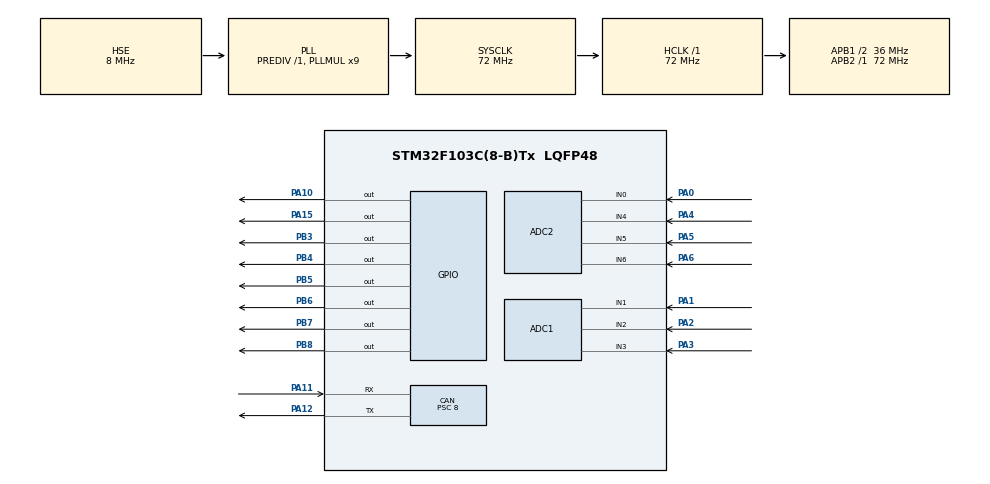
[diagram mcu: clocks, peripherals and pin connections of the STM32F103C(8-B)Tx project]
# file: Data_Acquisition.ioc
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ADC1.Channel-1\#ChannelRegularConversion=ADC_CHANNEL_2
ADC1.ContinuousConvMode=ENABLE
ADC1.EnableRegularConversion=ENABLE
ADC1.NbrOfConversion=1
ADC1.NbrOfConversionFlag=1
ADC1.Rank-1\#ChannelRegularConversion=1
ADC1.SamplingTime-1\#ChannelRegularConversion=ADC_SAMPLETIME_1CYCLE_5
ADC1.master=1
ADC2.Channel-0\#ChannelRegularConversion=ADC_CHANNEL_0
ADC2.ContinuousConvMode=ENABLE
ADC2.NbrOfConversionFlag=1
ADC2.Rank-0\#ChannelRegularConversion=1
ADC2.SamplingTime-0\#ChannelRegularConversion=ADC_SAMPLETIME_13CYCLES_5
CAN.BS1=CAN_BS1_4TQ
CAN.BS2=CAN_BS2_4TQ
CAN.CalculateBaudRate=500000
CAN.CalculateTimeBit=2000
CAN.CalculateTimeQuantum=222.22222222222223
CAN.Prescaler=8
Dma.ADC1.0.Direction=DMA_PERIPH_TO_MEMORY
Dma.ADC1.0.Instance=DMA1_Channel1
Dma.ADC1.0.MemDataAlignment=DMA_MDATAALIGN_HALFWORD
Dma.ADC1.0.MemInc=DMA_MINC_ENABLE
Dma.ADC1.0.Mode=DMA_NORMAL
Dma.ADC1.0.PeriphDataAlignment=DMA_PDATAALIGN_HALFWORD
Dma.ADC1.0.PeriphInc=DMA_PINC_DISABLE
Dma.ADC1.0.Priority=DMA_PRIORITY_LOW
Dma.Request0=ADC1
FREERTOS.Tasks01=sensor_Task,24,128,sensorTask,Default,NULL,Dynamic,NULL,NULL
FREERTOS.configUSE_NEWLIB_REENTRANT=1
Mcu.Family=STM32F1
Mcu.Name=STM32F103C(8-B)Tx
Mcu.Package=LQFP48
NVIC.ADC1_2_IRQn=true\:5\:0\:false\:false\:true\:true\:true\:true\:true
NVIC.DMA1_Channel1_IRQn=true\:5\:0\:false\:false\:true\:true\:false\:true\:true
NVIC.PriorityGroup=NVIC_PRIORITYGROUP_4
NVIC.TIM4_IRQn=true\:15\:0\:false\:false\:true\:false\:false\:true\:true
NVIC.TimeBase=TIM4_IRQn
NVIC.TimeBaseIP=TIM4
PA0-WKUP.Signal=ADCx_IN0
PA1.Signal=ADCx_IN1
PA10.Signal=GPIO_Output
PA11.Mode=CAN_Activate
PA11.Signal=CAN_RX
PA12.Mode=CAN_Activate
PA12.Signal=CAN_TX
PA13.Mode=Serial_Wire
PA13.Signal=SYS_JTMS-SWDIO
PA14.Mode=Serial_Wire
PA14.Signal=SYS_JTCK-SWCLK
PA15.Signal=GPIO_Output
PA2.Signal=ADCx_IN2
PA3.Signal=ADCx_IN3
PA4.Signal=ADCx_IN4
PA5.Signal=ADCx_IN5
PA6.Signal=ADCx_IN6
PB3.Signal=GPIO_Output
PB4.Signal=GPIO_Output
PB5.Signal=GPIO_Output
PB6.Signal=GPIO_Output
PB7.Signal=GPIO_Output
PB8.Signal=GPIO_Output
PD0-OSC_IN.Mode=HSE-External-Oscillator
PD0-OSC_IN.Signal=RCC_OSC_IN
PD1-OSC_OUT.Mode=HSE-External-Oscillator
PD1-OSC_OUT.Signal=RCC_OSC_OUT
ProjectManager.HeapSize=0x200
ProjectManager.StackSize=0x400
ProjectManager.TargetToolchain=STM32CubeIDE
RCC.ADCPresc=RCC_ADCPCLK2_DIV6
RCC.AHBFreq_Value=72000000
RCC.APB1CLKDivider=RCC_HCLK_DIV2
RCC.APB1Freq_Value=36000000
RCC.APB1TimFreq_Value=72000000
RCC.APB2Freq_Value=72000000
RCC.APB2TimFreq_Value=72000000
RCC.HCLKFreq_Value=72000000
RCC.PLLMUL=RCC_PLL_MUL9
RCC.PLLSourceVirtual=RCC_PLLSOURCE_HSE
RCC.SYSCLKFreq_VALUE=72000000
RCC.SYSCLKSource=RCC_SYSCLKSOURCE_PLLCLK
RCC.USBFreq_Value=72000000
SH.ADCx_IN0.0=ADC2_IN0,IN0
SH.ADCx_IN1.0=ADC1_IN1,IN1
SH.ADCx_IN2.0=ADC1_IN2,IN2
SH.ADCx_IN3.0=ADC1_IN3,IN3
SH.ADCx_IN4.0=ADC2_IN4,IN4
SH.ADCx_IN5.0=ADC2_IN5,IN5
SH.ADCx_IN6.0=ADC2_IN6,IN6
TIM1.Prescaler=71
VP_FREERTOS_VS_CMSIS_V2.Mode=CMSIS_V2
VP_SYS_VS_tim4.Mode=TIM4
VP_TIM1_VS_ClockSourceINT.Mode=Internal
board=custom

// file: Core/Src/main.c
/* USER CODE BEGIN Header */
/**
  ******************************************************************************
  * @file           : main.c
  * @brief          : Main program body
  ******************************************************************************
  * @attention
  *
  * Copyright (c) 2025 STMicroelectronics.
  * All rights reserved.
  *
  * This software is licensed under terms that can be found in the LICENSE file
  * in the root directory of this software component.
  * If no LICENSE file comes with this software, it is provided AS-IS.
  *
  ******************************************************************************
  */
/* USER CODE END Header */
#include "main.h"
#include "cmsis_os.h"
#include "adc.h"
#include "can.h"
#include "tim.h"
#include "gpio.h"

/* USER CODE BEGIN Includes */
#include "can_write.h"
#include "adc_settings.h"
/* USER CODE END Includes */

/* USER CODE BEGIN PV */
HAL_StatusTypeDef can_msg;
/* USER CODE END PV */

void SystemClock_Config(void);
void MX_FREERTOS_Init(void);

int main(void)
{

  /* MCU Configuration--------------------------------------------------------*/

  /* Reset of all peripherals, Initializes the Flash interface and the Systick. */
  HAL_Init();

  /* Configure the system clock */
  SystemClock_Config();

  /* Initialize all configured peripherals */
  MX_GPIO_Init();
  MX_ADC1_Init();
  MX_CAN_Init();
  MX_ADC2_Init();
  MX_TIM1_Init();
  /* USER CODE BEGIN 2 */
  HAL_CAN_Start(&hcan);
  can_msg = sendCANString("CAN Started");
  /* USER CODE END 2 */

  /* Init scheduler */
  osKernelInitialize();

  /* Call init function for freertos objects (in cmsis_os2.c) */
  MX_FREERTOS_Init();

  /* Start scheduler */
  osKernelStart();

  /* We should never get here as control is now taken by the scheduler */

  /* Infinite loop */
  while (1)
  {

  }
}

void SystemClock_Config(void)
{
  RCC_OscInitTypeDef RCC_OscInitStruct = {0};
  RCC_ClkInitTypeDef RCC_ClkInitStruct = {0};
  RCC_PeriphCLKInitTypeDef PeriphClkInit = {0};

  /** Initializes the RCC Oscillators according to the specified parameters
  * in the RCC_OscInitTypeDef structure.
  */
  RCC_OscInitStruct.OscillatorType = RCC_OSCILLATORTYPE_HSE;
  RCC_OscInitStruct.HSEState = RCC_HSE_ON;
  RCC_OscInitStruct.HSEPredivValue = RCC_HSE_PREDIV_DIV1;
  RCC_OscInitStruct.HSIState = RCC_HSI_ON;
  RCC_OscInitStruct.PLL.PLLState = RCC_PLL_ON;
  RCC_OscInitStruct.PLL.PLLSource = RCC_PLLSOURCE_HSE;
  RCC_OscInitStruct.PLL.PLLMUL = RCC_PLL_MUL9;
  if (HAL_RCC_OscConfig(&RCC_OscInitStruct) != HAL_OK)
  {
    Error_Handler();
  }

  /** Initializes the CPU, AHB and APB buses clocks
  */
  RCC_ClkInitStruct.ClockType = RCC_CLOCKTYPE_HCLK|RCC_CLOCKTYPE_SYSCLK
                              |RCC_CLOCKTYPE_PCLK1|RCC_CLOCKTYPE_PCLK2;
  RCC_ClkInitStruct.SYSCLKSource = RCC_SYSCLKSOURCE_PLLCLK;
  RCC_ClkInitStruct.AHBCLKDivider = RCC_SYSCLK_DIV1;
  RCC_ClkInitStruct.APB1CLKDivider = RCC_HCLK_DIV2;
  RCC_ClkInitStruct.APB2CLKDivider = RCC_HCLK_DIV1;

  if (HAL_RCC_ClockConfig(&RCC_ClkInitStruct, FLASH_LATENCY_2) != HAL_OK)
  {
    Error_Handler();
  }
  PeriphClkInit.PeriphClockSelection = RCC_PERIPHCLK_ADC;
  PeriphClkInit.AdcClockSelection = RCC_ADCPCLK2_DIV6;
  if (HAL_RCCEx_PeriphCLKConfig(&PeriphClkInit) != HAL_OK)
  {
    Error_Handler();
  }
}

void HAL_TIM_PeriodElapsedCallback(TIM_HandleTypeDef *htim)
{
  if (htim->Instance == TIM4)
  {
    HAL_IncTick();
  }
}

void Error_Handler(void)
{
  __disable_irq();
  while (1)
  {
  }
}

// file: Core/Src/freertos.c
/* USER CODE BEGIN Header */
/**
  ******************************************************************************
  * File Name          : freertos.c
  * Description        : Code for freertos applications
  ******************************************************************************
  * @attention
  *
  * Copyright (c) 2025 STMicroelectronics.
  * All rights reserved.
  *
  * This software is licensed under terms that can be found in the LICENSE file
  * in the root directory of this software component.
  * If no LICENSE file comes with this software, it is provided AS-IS.
  *
  ******************************************************************************
  */
/* USER CODE END Header */

#include "FreeRTOS.h"
#include "task.h"
#include "main.h"
#include "cmsis_os.h"

/* USER CODE BEGIN Includes */
#include <stdio.h>
#include "can.h"
#include "can_write.h"
#include "adc_settings.h"
#include "sensors.h"
/* USER CODE END Includes */

/* USER CODE BEGIN Variables */
uint8_t debug_mode = 1;

HAL_StatusTypeDef hal_message;
/* USER CODE END Variables */
/* Definitions for sensor_Task */
osThreadId_t sensor_TaskHandle;
const osThreadAttr_t sensor_Task_attributes = {
  .name = "sensor_Task",
  .stack_size = 128 * 4,
  .priority = (osPriority_t) osPriorityNormal,
};

void sensorTask(void *argument);

void MX_FREERTOS_Init(void); /* (MISRA C 2004 rule 8.1) */

void MX_FREERTOS_Init(void) {
  /* USER CODE BEGIN Init */
	setAvgDataEmpty();
	hal_message=setupSensors();

	Message_Debug_Time = HAL_GetTick();

	DATA_01.time = HAL_GetTick();
	DATA_02.time = HAL_GetTick();
	DATA_03.time = HAL_GetTick();
	DATA_04.time = HAL_GetTick();
	DATA_05.time = HAL_GetTick();
	DATA_06.time = HAL_GetTick();
	DATA_07.time = HAL_GetTick();
	DATA_08.time = HAL_GetTick();
	DATA_09.time = HAL_GetTick();
	DATA_10.time = HAL_GetTick();
	ERROR_CHECK.time = HAL_GetTick();
	BUFFER_ACK.time = HAL_GetTick();

  /* USER CODE END Init */

  /* Create the thread(s) */
  /* creation of sensor_Task */
  sensor_TaskHandle = osThreadNew(sensorTask, NULL, &sensor_Task_attributes);

}

void sensorTask(void *argument)
{
  /* USER CODE BEGIN sensorTask */
	TickType_t xLastWakeTime = xTaskGetTickCount();
	uint32_t RTOS_Time;
	uint32_t Time_old=HAL_GetTick();
	uint32_t Time_now;
	uint16_t adc_value;
	uint32_t time_dif;
	char value[20];
	unsigned char error;
  /* Infinite loop */
  for(;;)
  {
	RTOS_Time = HAL_GetTick();
	time_dif = RTOS_Time - Time_old;
	Time_old=RTOS_Time;

	uint16_t v_ref = returnAvgData(readADCValue1(VREF_PIN),V_Ref_index);
	uint16_t data;
	error=0xFF;
	if ((RTOS_Time - Message_Debug_Time >= MESSAGE_DEBUG_REFRESH_RATE)&!debug_mode) {
		Message_Debug_Time = RTOS_Time;
		//adc_value=resistorValue(readSensor(C1_1,Teste_index),v_ref);
		//adc_value=readSensor(C1_1);
		//hal_message = sendCANString("Teste: ");
		//sprintf(value, "%u$", adc_value);
		//sprintf(value, "%u$", v_ref);
		//hal_message = sendCANString(value);
		}

	if (RTOS_Time - DATA_01.time >= DATA_01.refresh_rate) {
	    DATA_01.time = RTOS_Time;

	    data = vBatValue(returnAvgData(readADCValue2(VBAT_PIN),V_Bat_index));  // Tensao da Bateria
	    DATA_01.data[0] = data&0xFF;
	    DATA_01.data[1] = (data>>8)&0x0F;

	    if (!data){
	    	error = V_Bat_index;
	    }

	    data = returnAvgData(readADCValue2(TEMP_PIN),Temp_index);  // Sensor de Temperatura Interno
	    DATA_01.data[1]|=(data&0x0F)<<4;
	    DATA_01.data[2] = (data>>4)&0xFF;
	    DATA_01.data[3] = v_ref&0xFF;    // Tensao Referencia
	    DATA_01.data[4] = (v_ref>>8)&0x0F;

	    if (!data){
	    	 error = Temp_index;
	    }

	    data = returnAvgData(readADCValue2(GEAR_PIN),Gear_index);  // Sensor de Marcha
	    DATA_01.data[4] |= ((data > 3682) ? 7 :
	                        (data > 2995) ? 1 :
	                        (data > 2432) ? 2 :
	                        (data > 1852) ? 3 :
	                        (data > 1249) ? 4 :
	                        (data > 672)  ? 5 : 6) << 4;

	    //hal_message = sendCANString("CA1_");
	    hal_message = sendCANData(DATA_01.data,DATA_01.id,DATA_01.dlc);
	}

	if (RTOS_Time - DATA_02.time >= DATA_02.refresh_rate) {
	    DATA_02.time = RTOS_Time;

	    data = readSensor(FR_Susp_Angle,FR_Susp_Angle_index);
	    DATA_02.data[0] = data&0xFF;;
	    DATA_02.data[1] = (data>>8)&0xF;

	    if (!data){
	    	error = FR_Susp_Angle_index;
	    }

	    data = readSensor(FL_Susp_Angle,FL_Susp_Angle_index);
	    DATA_02.data[1] |= (data&0xF)<<4;
	    DATA_02.data[2] = (data>>4)&0xFF;

	    if (!data){
	    	    	 error = FL_Susp_Angle_index;
	    }

	    data = readSensor(RR_Susp_Angle,RR_Susp_Angle_index);
	    DATA_02.data[3] = data&0xFF;;
	    DATA_02.data[4] = (data>>8)&0xF;

	    if (!data){
	    	    	 error = RR_Susp_Angle_index;
	    }

	    data = readSensor(RL_Susp_Angle,RL_Susp_Angle_index);
	    DATA_02.data[4] |= (data&0xF)<<4;
	    DATA_02.data[5] = (data>>4)&0xFF;

	    if (!data){
	     	 error = RL_Susp_Angle_index;
	    }

	    data = readSensor(Wheel_Angle,Wheel_Angle_index);
	    DATA_02.data[6] = data&0xFF;;
	    DATA_02.data[7] = (data>>8)&0xF;

	    if (!data){
	    	 error = Wheel_Angle_index;
	    }

	    hal_message = sendCANData(DATA_02.data,DATA_02.id,DATA_02.dlc);
	}

	if (RTOS_Time - DATA_03.time >= DATA_03.refresh_rate) {
	    DATA_03.time = RTOS_Time;

	    data = readSensor(FR_Hall,FR_Hall_index);
	    DATA_03.data[0] = data&0xFF;;
	    DATA_03.data[1] = (data>>8)&0xF;

	    data = readSensor(FL_Hall,FL_Hall_index);
	    DATA_03.data[1] |= (data&0xF)<<4;
	    DATA_03.data[2] = (data>>4)&0xFF;

	    data = readSensor(RR_Hall,FL_Hall_index);
	    DATA_03.data[3] = data&0xFF;;
	    DATA_03.data[4] = (data>>8)&0xF;

	    data = readSensor(RL_Hall,RL_Hall_index);
	    DATA_03.data[4] |= (data&0xF)<<4;
	    DATA_03.data[5] = (data>>4)&0xFF;

	    hal_message = sendCANData(DATA_03.data,DATA_03.id,DATA_03.dlc);
	}

	if (RTOS_Time - DATA_04.time >= DATA_04.refresh_rate) {
	    DATA_04.time = RTOS_Time;

	    data = readSensor(Oil_Pressure,Oil_Pressure_index);
	    DATA_04.data[0] = data&0xFF;;
	    DATA_04.data[1] = (data>>8)&0xF;
	    //hal_message = sendCANString("CA_");

	    //data = readSensor(Oil_Temp,Oil_Temp_index);
	    //DATA_04.data[1] |= (data&0xF)<<4;
	    //DATA_04.data[2] = (data>>4)&0xFF;

	    hal_message = sendCANData(DATA_04.data,DATA_04.id,DATA_04.dlc);
	}

	/*if (RTOS_Time - DATA_05.time >= DATA_05.refresh_rate) {
	    DATA_05.time = RTOS_Time;

	    data = readSensor(FR_Caliper_Pressure);
	    DATA_05.data[0] = data&0xFF;;
	    DATA_05.data[1] = (data>>8)&0xF;

	    data = readSensor(FL_Caliper_Pressure);
	    DATA_05.data[1] |= (data&0xF)<<4;
	    DATA_05.data[2] = (data>>4)&0xFF;

	    data = readSensor(RR_Caliper_Pressure);
	    DATA_05.data[3] = data&0xFF;;
	    DATA_05.data[4] = (data>>8)&0xF;

	    data = readSensor(RL_Caliper_Pressure);
	    DATA_05.data[4] |= (data&0xF)<<4;
	    DATA_05.data[5] = (data>>4)&0xFF;

	    hal_message = sendCANData(DATA_05.data,DATA_05.id,DATA_05.dlc);
	}*/

	if (RTOS_Time - DATA_06.time >= DATA_06.refresh_rate) {
	    DATA_06.time = RTOS_Time;

	    /*data = readSensor(Acc_Pedal_Angle,Acc_Pedal_Angle_index);
	    DATA_06.data[0] = data&0xFF;;
	    DATA_06.data[1] = (data>>8)&0xF;

	    data = readSensor(Brake_Pedal_Angle,Brake_Pedal_Angle_index);
	    DATA_06.data[1] |= (data&0xF)<<4;
	    DATA_06.data[2] = (data>>4)&0xFF;*/

	    DATA_06.data[0] = 0;
	    DATA_06.data[1] = 0;
	    DATA_06.data[2] = 0;

	    data = readSensor(F_Brakeline_Pressure,F_Brakeline_Pressure_index);
	    DATA_06.data[3] = data&0xFF;;
	    DATA_06.data[4] = (data>>8)&0xF;

	    data = readSensor(R_Brakeline_Pressure,R_Brakeline_Pressure_index);
	    DATA_06.data[4] |= (data&0xF)<<4;
	    DATA_06.data[5] = (data>>4)&0xFF;

	    hal_message = sendCANData(DATA_06.data,DATA_06.id,DATA_06.dlc);
	}

	/*if (RTOS_Time - DATA_07.time >= DATA_07.refresh_rate) {
	    DATA_07.time = RTOS_Time;

	    data = readSensor(Fuel_Temp,Fuel_Temp_index);
	    DATA_07.data[0] = data&0xFF;;
	    DATA_07.data[1] = (data>>8)&0xF;

	    data = readSensor(Intercooler_Temp,Intercooler_Temp_index);
	    DATA_07.data[1] |= (data&0xF)<<4;
	    DATA_07.data[2] = (data>>4)&0xFF;

	    data = readSensor(Firewall_Temp,Firewall_Temp_index);
	    DATA_07.data[3] = data&0xFF;
	    DATA_07.data[4] = (data>>8)&0xF;

	    data = readSensor(Intercooler_Pressure,Intercooler_Pressure_index);
	    DATA_07.data[4] |= (data&0xF)<<4;
	    DATA_07.data[5] = (data>>4)&0xFF;

	    hal_message = sendCANData(DATA_07.data,DATA_07.id,DATA_07.dlc);
	}

	if (RTOS_Time - DATA_08.time >= DATA_08.refresh_rate) {
	    DATA_08.time = RTOS_Time;

	    data = readSensor(Cooling_In_Temp,Cooling_In_Temp_index);
	    DATA_08.data[0] = data&0xFF;;
	    DATA_08.data[1] = (data>>8)&0xF;

	    data = readSensor(Cooling_Out_Temp,Cooling_Out_Temp_index);
	    DATA_08.data[1] |= (data&0xF)<<4;
	    DATA_08.data[2] = (data>>4)&0xFF;

	    data = readSensor(,);
	    DATA_08.data[3] = data&0xFF;
	    DATA_08.data[4] = (data>>8)&0xF;

	    data = readSensor(,);
	    DATA_08.data[4] |= (data&0xF)<<4;
	    DATA_08.data[5] = (data>>4)&0xFF;

	    hal_message = sendCANData(DATA_08.data,DATA_08.id,DATA_08.dlc);
	}

	if (RTOS_Time - DATA_09.time >= DATA_09.refresh_rate) {
	    DATA_09.time = RTOS_Time;
	}*/

	if (RTOS_Time - DATA_10.time >= DATA_10.refresh_rate) {
		    DATA_10.time = RTOS_Time;
		    data = readSensor(MAP_1_Pressure,MAP_1_Pressure_index);
		    DATA_10.data[0] = data&0xFF;;
		    DATA_10.data[1] = (data>>8)&0xF;

		    if (!data){
		    	  error = MAP_1_Pressure_index;
		    }

    	    data = readSensor(MAP_2_Pressure,MAP_2_Pressure_index);
    	    DATA_10.data[1] |= (data&0xF)<<4;
    	    DATA_10.data[2] = (data>>4)&0xFF;

    	    if (!data){
    	    	error = MAP_2_Pressure_index;
    	    }

    	    data = readSensor(MAF_Flow,MAF_Flow_index);
    	    DATA_10.data[3] = data&0xFF;
    	    DATA_10.data[4] = (data>>8)&0xF;

    	    if (!data){
    	    	error = MAF_Flow_index;
    	    }

    	    data = readSensor(Oil_Temp,Oil_Temp_index);
    	    DATA_10.data[4] |= (data&0xF)<<4;
    	    DATA_10.data[5] = (data>>4)&0xFF;

    	    if (!data){
    	    	error = Oil_Temp_index;
    	    }

    	    hal_message = sendCANData(DATA_10.data,DATA_10.id,DATA_10.dlc);
		}

	if (RTOS_Time - ERROR_CHECK.time >= ERROR_CHECK.refresh_rate){
		ERROR_CHECK.time = RTOS_Time;
		ERROR_CHECK.data[0]=error;
		hal_message = sendCANData(ERROR_CHECK.data,ERROR_CHECK.id,ERROR_CHECK.dlc);
	}

	Time_now = HAL_GetTick() - Time_old;

	if (RTOS_Time - BUFFER_ACK.time >= BUFFER_ACK.refresh_rate) {
		BUFFER_ACK.time = RTOS_Time;
		BUFFER_ACK.data[0]='1';
		BUFFER_ACK.data[1]=time_dif&0xFF;
		BUFFER_ACK.data[2]=Time_now&0xFF;
		hal_message = sendCANData(BUFFER_ACK.data,BUFFER_ACK.id,BUFFER_ACK.dlc);
	}
	vTaskDelayUntil(&xLastWakeTime, pdMS_TO_TICKS(Time_Mult));
  }
  /* USER CODE END sensorTask */
}
